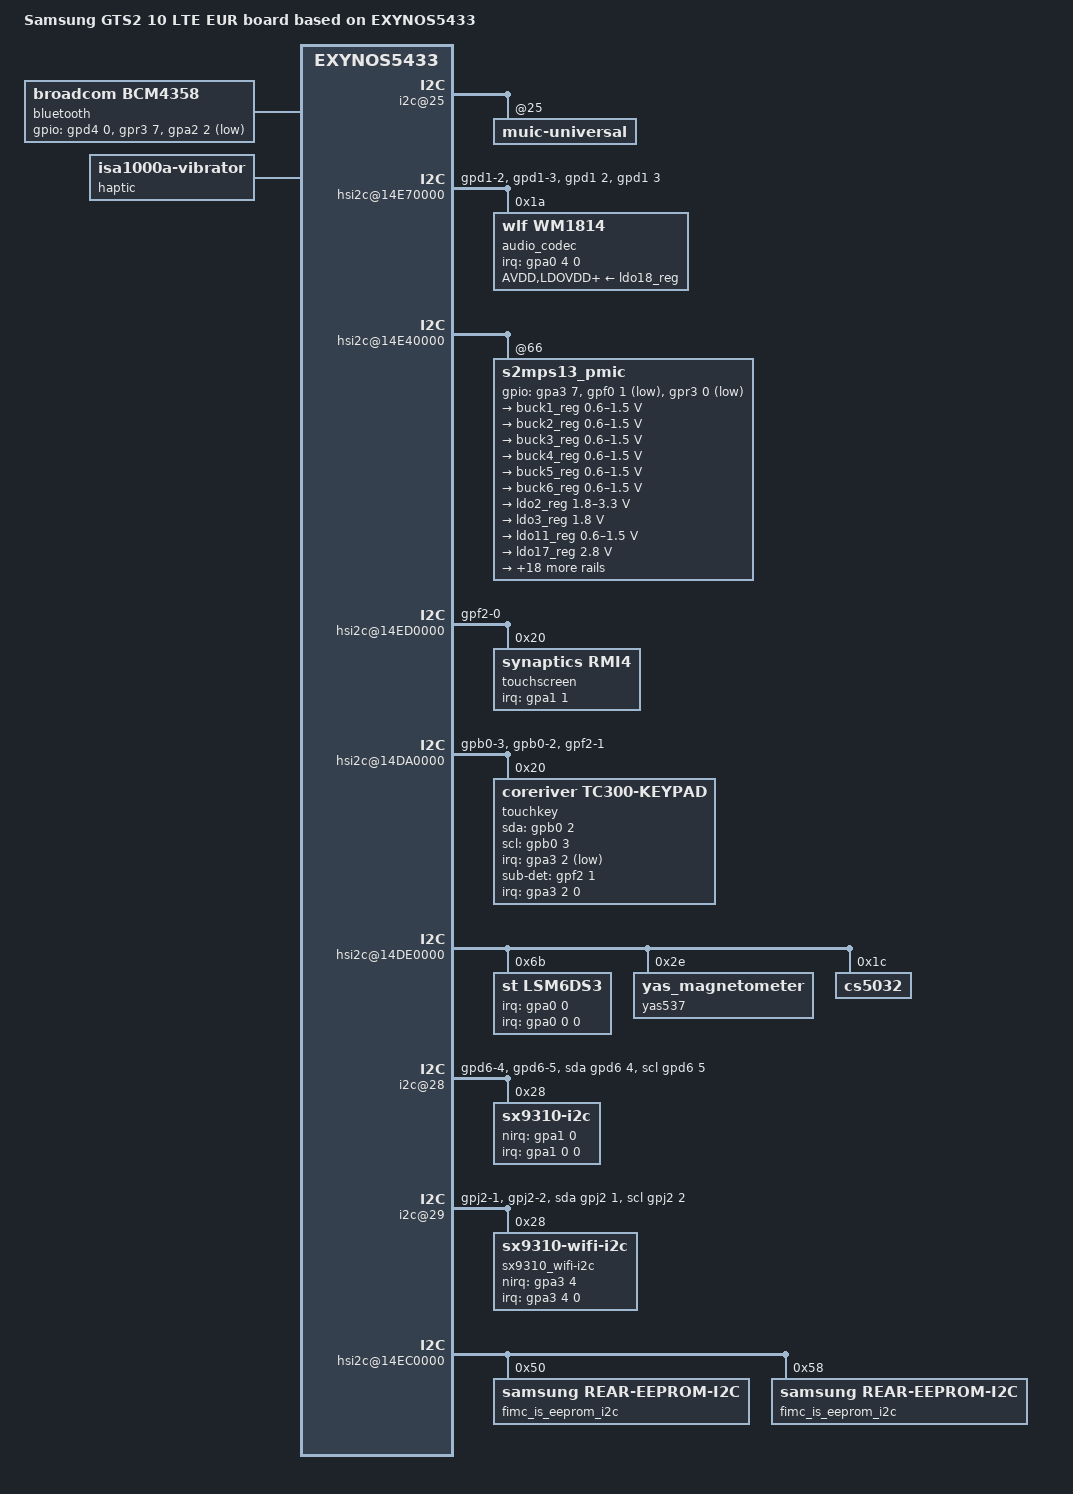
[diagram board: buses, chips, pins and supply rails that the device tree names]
/*
 * SAMSUNG UNIVERSAL5433 board device tree source
 *
 * Copyright (c) 2013 Samsung Electronics Co., Ltd.
 *		http://www.samsung.com
 *
 * This program is free software; you can redistribute it and/or modify
 * it under the terms of the GNU General Public License version 2 as
 * published by the Free Software Foundation.
*/
/dts-v1/;
#include "exynos5433-gts2_common.dtsi"
#include "exynos5433-gts210_gpio_03.dtsi"
#include "exynos5433-gts210_battery_03.dtsi"
#include "exynos5433-modem-ss333.dtsi"
#include "exynos5433-gts210_mhl2x.dtsi"
#include "exynos5433-gts210_fingerprint-sensor_00.dtsi"

/ {
	model = "Samsung GTS2 10 LTE EUR board based on EXYNOS5433";
	model_info-chip = <5433>;
	model_info-platform = "gts210";
	model_info-subtype = "gts210_eur_open";
	model_info-hw_rev = <5>;
	model_info-hw_rev_end = <5>;
	compatible = "samsung,GTS2 10 LTE 05", "samsung,exynos5433";

	dwmmc0@15540000 {
		samsung,dw-mshc-ddr200-tx-delay-line = <0x80>;
	};

	pinctrl@15690000 {
		sd0_clk: sd0-clk {
			samsung,pins = "gpr0-0";
			samsung,pin-function = <2>;
			samsung,pin-pud = <0>;
			samsung,pin-drv = <3>;
		};

		sd0_cmd: sd0-cmd {
			samsung,pins = "gpr0-1";
			samsung,pin-function = <2>;
			samsung,pin-pud = <0>;
			samsung,pin-drv = <3>;
		};

		sd0_bus1: sd0-bus-width1 {
			samsung,pins = "gpr1-0";
			samsung,pin-function = <2>;
			samsung,pin-pud = <0>;
			samsung,pin-drv = <3>;
		};

		sd0_bus4: sd0-bus-width4 {
			samsung,pins = "gpr1-1", "gpr1-2", "gpr1-3";
			samsung,pin-function = <2>;
			samsung,pin-pud = <0>;
			samsung,pin-drv = <3>;
		};

		sd0_bus8: sd0-bus-width8 {
			samsung,pins = "gpr1-4", "gpr1-5", "gpr1-6", "gpr1-7";
			samsung,pin-function = <2>;
			samsung,pin-pud = <0>;
			samsung,pin-drv = <3>;
		};
	};

	i2c@25 {
		status = "okay";
		muic-universal@25 {
			status = "okay";
			muic-universal,chip_name = "sm,sm5703";
		};
	};

	hsi2c@14E70000 {
		status = "okay";
		pinctrl-names = "default";
		pinctrl-0 = <&codec_i2c>;
		gpios = <&gpd1 2 0    /* sda */
				&gpd1 3 0   /* scl */ >;
		#address-cells = <1>;
		#size-cells = <0>;

		audio_codec: wm1814@1a {
			compatible = "wlf,wm1814";
			reg = <0x1a>;
			interrupts = <4 0 0>;
			interrupt-parent = <&gpa0>;

			gpio-controller;
			#gpio-cells = <2>;
			pinctrl-names = "default";
			pinctrl-0 = <&codec_reset &codec_ldoena &codec_irq>;
			wlf,reset = <&gpc0 7 0>;
			wlf,ldoena = <&gpf0 0 0>;
			wlf,init-mic-delay = <30>;
			wlf,micd-detect-debounce = <300>;
			wlf,micd-pol-gpio = <0>;
			wlf,micd-bias-start-time = <0x1>;
			wlf,micd-rate = <0x7>;
			wlf,micd-dbtime = <0x1>;
			wlf,micd-timeout = <1000>;
			wlf,micd-force-micbias;
			wlf,hpdet-channel = <0>;
			wlf,hpdet-ext-res = <11>;
			wlf,hs-mic = <3>;
			wlf,hpdet-short-circuit-imp = <3>;
			wlf,micd-ranges = <
				116 226
				173 582
				321 115
				752 114
				1257 217
			>;

			wlf,micd-configs = <
				0x0 1 0
			>;

			wlf,micbias1 = <2800 0 1 0 0>;
			wlf,micbias2 = <2800 0 1 0 0>;

			wlf,gpio-defaults = <
				0xA101
				0xA101
				0xA101
				0xA101
				0x8101
			>;

			wlf,gpsw = <0x3>;
			wlf,use-jd-gpio;
			wlf,jd-gpio-nopull;
			wlf,micd-software-compare;
			wlf,micd-open-circuit-declare = <1>;
			wlf,jd-wake-time = <5000>;

			wlf,max-channels-clocked = <2 0 0>;
			/* 0:MICVDD 1:MICBIAS1 2:MICBIAS2 3:MICBIAS3 */
			wlf,dmic-ref = <2 1 3 0>;
			/* 1st cell:IN1 2rd cell:IN2 3nd cell:IN3 4th cell:IN4 */
			wlf,inmode = <0 0 2 0>;
			/* 1st cell:OUT1 2nd cell:OUT2 3rd cell:OUT3... 6th cell:OUT6 */
			wlf,out-mono = <0 1 1 0 0 0>;

			AVDD-supply = <&ldo18_reg>;
			LDOVDD-supply = <&ldo18_reg>;
			DBVDD1-supply = <&ldo18_reg>;

			CPVDD-supply = <&ldo18_reg>;
			DBVDD2-supply = <&ldo18_reg>;
			DBVDD3-supply = <&ldo18_reg>;
			SPKVDDL-supply = <&ldo18_reg>;
			SPKVDDR-supply = <&ldo18_reg>;

		};
	};

	hall {
		status = "okay";
		compatible = "hall";
		pinctrl-names = "default";
		pinctrl-0 = <&hall_irq>;
		hall,gpio_flip_cover = <&gpa0 2 0>;
	};

	pinctrl@10580000 {
		hall_irq: hall-irq {
			samsung,pins = "gpa0-2";
			samsung,pin-function = <0xf>;
			samsung,pin-pud = <0>;
			samsung,pin-drv = <0>;
		};
	};

	hall_accessory {
		status = "okay";
		compatible = "hall_accessory";
		pinctrl-names = "default";
		pinctrl-0 = <&hall_accessory_irq>;
		hall,gpio_accessory = <&gpa0 1 0>;
	};

	pinctrl@10580000 {
		hall_accessory_irq: hall-accessory-irq {
			samsung,pins = "gpa0-1";
			samsung,pin-function = <0xf>;
			samsung,pin-pud = <0>;
			samsung,pin-drv = <0>;
		};
	};

	audio_pdata {
		compatible = "samsung,audio-pdata";

		imp_table = <
			/* min      max gain */
			   0         13    0
			  14         45    3
			  46        100    7
			 101        200    11
			 201        450    15
			 451       1000    17
			1001 0x7fffffff    0
		>;

		status = "okay";
	};

	pinctrl@11090000 {
		codec_ldoena: codec-ldoena {
			samsung,pins ="gpf0-0";
			samsung,pin-con-pdn =<3>;
		};
	};

	pinctrl@14CC0000 {
		codec_reset: codec-reset {
			samsung,pins ="gpc0-7";
			samsung,pin-function = <1>;
			samsung,pin-pud = <1>;
			samsung,pin-con-pdn =<3>;
			samsung,pin-pud-pdn = <1>;
		};

		codec_i2c: codec-i2c {
			samsung,pins = "gpd1-2", "gpd1-3";
			samsung,pin-function = <3>; //HSI2C_3_SDA( GPD1[2) , HSI2C_3_SCL( GPD1[3])
			samsung,pin-pud = <3>;      // 0 (pull_none) 1 (pull_down) 3 (pull_up)
		};
	};

	pinctrl@10580000 {
		codec_irq: codec-irq {
			samsung,pins = "gpa0-4";
			samsung,pin-pud = <0>;
		};
	};

	pinctrl@114B0000 {
		uart_aud_rts: uart-aud-rts {
			samsung,pins = "gpz1-3";
			samsung,pin-function = <2>;
			samsung,pin-pud = <0>;
			samsung,pin-con-pdn = <1>;
			samsung,pin-pud-pdn = <0>;
		};

		uart_aud_cts: uart-aud-cts {
			samsung,pins = "gpz1-2";
			samsung,pin-function = <2>;
			samsung,pin-pud = <0>;
			samsung,pin-con-pdn = <2>;
			samsung,pin-pud-pdn = <0>;
		};

		uart_aud_rx: uart-aud-rx {
			samsung,pins = "gpz1-1";
			samsung,pin-function = <2>;
			samsung,pin-pud = <0>;
			samsung,pin-con-pdn = <2>;
			samsung,pin-pud-pdn = <0>;
		};

		uart_aud_tx: uart-aud-tx {
			samsung,pins = "gpz1-0";
			samsung,pin-function = <2>;
			samsung,pin-pud = <0>;
			samsung,pin-con-pdn = <1>;
			samsung,pin-pud-pdn = <0>;
		};
	};

	serial@11460000 {
		pinctrl-0 = <&uart_aud_rts &uart_aud_cts &uart_aud_rx &uart_aud_tx>;
		pinctrl-1 = <&uart_aud_rx &uart_aud_tx &uart_aud_bus_idle>;
	};

	pinctrl@14CC0000 {
		cfg_en: cfg-en {
			samsung,pins ="gpd4-0";
			samsung,pin-function = <1>;
			samsung,pin-pud = <1>;
			samsung,pin-con-pdn = <3>;
			samsung,pin-pud-pdn = <1>;
		};
	};

	pinctrl@10580000{
		cfg_hostwake: cfg-hostwake {
			samsung,pins = "gpa2-2";
			samsung,pin-function = <0>;
			samsung,pin-pud = <0>;
			samsung,pin-con-pdn = <2>;
			samsung,pin-pud-pdn = <0>;
		};
	};

	pinctrl@15690000{
		cfg_btwake: cfg-btwake {
			samsung,pins = "gpr3-7";
			samsung,pin-function = <1>;
			samsung,pin-pud = <0>;
			samsung,pin-con-pdn = <0>;
			samsung,pin-pud-pdn = <1>;
		};
	};

	bluetooth {
		compatible = "broadcom,bcm4358";

		gpios = <&gpd4 0 0	/*BT_EN*/
				&gpr3 7 0	/*BT_WAKE*/
				&gpa2 2 0xF	/*BT_HOST_WAKE*/ >;

		pinctrl-names = "default";
		pinctrl-0=<&cfg_hostwake &cfg_btwake &cfg_en>;
		status = "okay";
	};

	pinctrl@15690000 {
		pm_dvs_en: pm-dvs-en {
			samsung,pins = "gpr3-0";
			samsung,pin-pud = <0>;
		};
	};

	pinctrl@11090000 {
		pm_g3d_en: pm-g3d-en {
			samsung,pins = "gpf0-1";
			samsung,pin-pud = <3>;
		};
	};

	hsi2c@14E40000 {
		s2mps13_pmic@66 {
			pinctrl-names = "default";
			pinctrl-0 = <&pm_g3d_en &pm_dvs_en &pmic_irq &pm_wrsti &gpa3_pull_up>;
			gpios = <&gpa3 7 0>, <&gpf0 1 0x1>, <&gpr3 0 0x1>;
			g3d_en = <1>; /* 1 : enable , 0 : disable */
			smpl_warn_vth = <0xd8>; /* LowBat_Level: 2.9V LowBat_Hys: 400mV */
			regulators {
				buck1_reg: BUCK1 {
					regulator-name = "vdd_mif";
					regulator-min-microvolt = <600000>;
					regulator-max-microvolt = <1500000>;
					regulator-always-on;
					regulator-boot-on;
					regulator-ramp-delay = <12000>;
					regulator-initial-mode = <1>;
				};

				buck2_reg: BUCK2 {
					regulator-name = "vdd_eagle";
					regulator-min-microvolt = <600000>;
					regulator-max-microvolt = <1500000>;
					regulator-always-on;
					regulator-boot-on;
					regulator-ramp-delay = <12000>;
					regulator-initial-mode = <1>;
				};

				buck3_reg: BUCK3 {
					regulator-name = "vdd_kfc";
					regulator-min-microvolt = <600000>;
					regulator-max-microvolt = <1500000>;
					regulator-always-on;
					regulator-boot-on;
					regulator-ramp-delay = <12000>;
					regulator-initial-mode = <1>;
				};

				buck4_reg: BUCK4 {
					regulator-name = "vdd_int";
					regulator-min-microvolt = <600000>;
					regulator-max-microvolt = <1500000>;
					regulator-always-on;
					regulator-boot-on;
					regulator-ramp-delay = <12000>;
					regulator-initial-mode = <1>;
				};

				buck5_reg: BUCK5 {
					regulator-name = "vdd_disp_cam0";
					regulator-min-microvolt = <600000>;
					regulator-max-microvolt = <1500000>;
					regulator-always-on;
					regulator-boot-on;
					regulator-ramp-delay = <12000>;
					regulator-initial-mode = <1>;
				};

				buck6_reg: BUCK6 {
					regulator-name = "vdd_g3d";
					regulator-min-microvolt = <600000>;
					regulator-max-microvolt = <1500000>;
					regulator-always-on;
					regulator-boot-on;
					regulator-ramp-delay = <12000>;
					regulator-initial-mode = <1>;
				};

				ldo2_reg: LDO2 {
					regulator-name = "vqmmc";
					regulator-min-microvolt = <1800000>;
					regulator-max-microvolt = <3300000>;
					regulator-boot-on;
					regulator-ramp-delay = <12000>;
					regulator-initial-mode = <1>;
				};

				ldo3_reg: LDO3 {
					regulator-name = "VDD1_E_1.8V_AP";
					regulator-min-microvolt = <1800000>;
					regulator-max-microvolt = <1800000>;
					regulator-always-on;
				};

				ldo11_reg: LDO11 {
					regulator-name = "vdd_int_m";
					regulator-min-microvolt = <600000>;
					regulator-max-microvolt = <1500000>;
					regulator-always-on;
					regulator-boot-on;
					regulator-ramp-delay = <12000>;
					regulator-initial-mode = <1>;
				};

				ldo17_reg: LDO17 {
					regulator-name = "vmmc";
					regulator-min-microvolt = <2800000>;
					regulator-max-microvolt = <2800000>;
				};

				ldo18_reg: LDO18 {
					regulator-name = "V_CODEC_1.8V_AP";
					regulator-min-microvolt = <1800000>;
					regulator-max-microvolt = <1800000>;
					regulator-always-on;
					regulator-initial-mode = <3>;
				};

				ldo19_reg: LDO19 {
					regulator-name = "GRIP_1.8V";
					regulator-min-microvolt = <1800000>;
					regulator-max-microvolt = <1800000>;
					regulator-always-on;
					regulator-boot-on;
				};

				ldo20_reg: LDO20 {
					regulator-name = "VCC_2.8V_AP";
					regulator-min-microvolt = <2800000>;
					regulator-max-microvolt = <2800000>;
					regulator-always-on;
					regulator-boot-on;
				};

				ldo21_reg: LDO21 {
					regulator-name = "VT_CAM_1.8V";
					regulator-min-microvolt = <1800000>;
					regulator-max-microvolt = <1800000>;
				};

				ldo22_reg: LDO22 {
					regulator-name = "CAM_IO_1.8V_AP";
					regulator-min-microvolt = <1800000>;
					regulator-max-microvolt = <1800000>;
				};

				ldo23_reg: LDO23 {
					regulator-name = "CAM_SEN_CORE_1.2V_AP";
					regulator-min-microvolt = <1300000>;
					regulator-max-microvolt = <1300000>;
				};

				ldo26_reg: LDO26 {
					regulator-name = "CAM_AF_2.8V_AP";
					regulator-min-microvolt = <2800000>;
					regulator-max-microvolt = <2800000>;
				};

				ldo27_reg: LDO27 {
					regulator-name = "VT_CAM_2.8V";
					regulator-min-microvolt = <2800000>;
					regulator-max-microvolt = <2800000>;
				};

				ldo29_reg: LDO29 {
					regulator-name = "CAM_SEN_A2.8V_AP";
					regulator-min-microvolt = <2800000>;
					regulator-max-microvolt = <2800000>;
				};

				ldo30_reg: LDO30 {
				        regulator-name = "tsp_avdd";
				        regulator-min-microvolt = <3300000>;
				        regulator-max-microvolt = <3300000>;
				};

				ldo31_reg: LDO31 {
				        regulator-name = "tsp_io";
				        regulator-min-microvolt = <1850000>;
				        regulator-max-microvolt = <1850000>;
				};

				ldo32_reg: LDO32 {
					regulator-name = "vtouch_1.8v";
					regulator-min-microvolt = <1800000>;
					regulator-max-microvolt = <1800000>;
					regulator-boot-on;
				};

				ldo33_reg: LDO33 {
					regulator-name = "vtouch_3.3v";
					regulator-min-microvolt = <3300000>;
					regulator-max-microvolt = <3300000>;
				};

				ldo34_reg: LDO34 {
					regulator-name = "VCC_1.8V_MHL";
					regulator-min-microvolt = <1800000>;
					regulator-max-microvolt = <1800000>;
				};

				ldo35_reg: LDO35 {
					regulator-name = "VCC_3.0V_MOTOR_AP";
					regulator-min-microvolt = <3000000>;
					regulator-max-microvolt = <3000000>;
				};

				ldo36_reg: LDO36 {
					regulator-name = "VSIL_1.2A";
					regulator-min-microvolt = <1200000>;
					regulator-max-microvolt = <1200000>;
				};

				ldo38_reg: LDO38 {
					regulator-name = "VCC_3.3V_MHL";
					regulator-min-microvolt = <3300000>;
					regulator-max-microvolt = <3300000>;
				};

				ldo40_reg: LDO40 {
					regulator-name = "V_IRLED_3.3V";
					regulator-min-microvolt = <3300000>;
					regulator-max-microvolt = <3350000>;
					regulator-initial-mode = <1>;
				};
			};
		};
	};

	pinctrl@14CC0000 {
		vibetonz_pwm: vibetonz-pwm {
		      samsung,pins = "gpd2-4";
		      samsung,pin-function = <2>;
		      samsung,pin-pud = <0>;
		      samsung,pin-drv = <0>;
	      };
	};

	pinctrl@10580000 {
		attn_irq: attn-irq {
			samsung,pins = "gpa1-1";
			samsung,pin-function = <0xf>;
			samsung,pin-pud = <0>;
			samsung,pin-drv = <0>;
		};

		attn_input: attn-input {
			samsung,pins = "gpa1-1";
			samsung,pin-function = <0>;
			samsung,pin-pud = <1>;
			samsung,pin-drv = <0>;
		};

		tsp_rst_default: tsp-rst-default {
			samsung,pins = "gpf2-0";
			samsung,pin-function = <0>;
			samsung,pin-pud = <0>;
			samsung,pin-drv = <0>;
		};
	};

	hsi2c@14ED0000 {
		pinctrl-names = "default";
		pinctrl-0 = <&hs_i2c5_bus &tsp_rst_default>;
		samsung,i2c-sda-delay = <100>;
		samsung,i2c-max-bus-freq = <400000>;
		status = "okay";
		touchscreen@20 {
			compatible = "synaptics,rmi4";
			reg = <0x20>;
			pinctrl-names = "on_state", "off_state";
			pinctrl-0 = <&attn_irq>;
			pinctrl-1 = <&attn_input>;
			synaptics,irq_gpio = <&gpa1 1 0>;
			synaptics,irq_type = <8200>;
			synaptics,max_coords = <1536 2048>;	/* x y */
			synaptics,num_lines = <49 37>;		/* rx tx */
			synaptics,regulator_dvdd = "tsp_io";
			synaptics,regulator_avdd = "tsp_avdd";
			synaptics,project_name = "GTS210","T815";
			synaptics,firmware_name = "tsp_synaptics/synaptics_5807_gts210.fw";
		};
	};

	pinctrl@14CC0000 {
		/* touchkey i2c*/
		hs_i2c9_bus: hs-i2c9-bus {
			samsung,pins = "gpb0-3", "gpb0-2";
			samsung,pin-function = <4>;
			samsung,pin-pud = <3>;
			samsung,pin-drv = <0>;
		};
		cfg_i2c: cfg-i2c {
			samsung,pins = "gpb0-3", "gpb0-2";
			samsung,pin-function = <4>;
			samsung,pin-pud = <3>;
			samsung,pin-drv = <0>;
		};
		cfg_gpio: cfg_gpio {
			samsung,pins = "gpb0-3", "gpb0-2";
			samsung,pin-function = <2>;
			samsung,pin-pud = <0>;
			samsung,pin-drv = <0>;
		};
	};

	pinctrl@10580000 {
		sub_det: sub-det {
			samsung,pins = "gpf2-1";
			samsung,pin-function = <0>;
			samsung,pin-pud = <0>;
			samsung,pin-drv = <0>;
		};
	};

	hsi2c@14DA0000 {
		status = "okay";
		pinctrl-names = "default","on_i2c","off_i2c";
		pinctrl-0 = <&hs_i2c9_bus &sub_det>;
		pinctrl-1 = <&cfg_i2c>;
		pinctrl-2 = <&cfg_gpio>;
		touchkey@20 {
			pinctrl-names = "default";
			pinctrl-0 = <&cfg_irq>;
			compatible = "coreriver,tc300-keypad";
			reg = <0x20>;
			interrupts = <2 0 0>;
			interrupt-parent = <&gpa3>;
			coreriver,sda-gpio = <&gpb0 2 0>;
			coreriver,scl-gpio = <&gpb0 3 0>;
			coreriver,irq-gpio = <&gpa3 2 1>;
			coreriver,sub-det-gpio = <&gpf2 1 0>;
			coreriver,regulator_ic = "vtouch_1.8v";
			coreriver,regulator_led = "vtouch_3.3v";
			coreriver,fw_name = "coreriver/tc350k_gts210_swap.fw";
			coreriver,sensing_ch_num = <0x4>;
			coreriver,tsk_ic_num = <0x1>; /* tc300k : 0x00, tc350k : 0x01 */
			coreriver,use_bitmap = <1>;
			coreriver,boot-on-ldo = "true";
		};
	};

	hsi2c@14DE0000 {
		samsung,i2c-sda-delay = <100>;
		samsung,i2c-max-bus-freq = <400000>;
		status = "okay";
		lsm6ds3@6b {
			compatible = "st,lsm6ds3";
			reg = <0x6b>;
			pinctrl-names = "default";
			interrupt-parent = <&gpa0>;
			interrupts = <0 0 0>;

			st,drdy-int-pin = <1>;
			st,irq_gpio = <&gpa0 0 0x00>;
			st,orientation = <1 0 1 0 1 1 1 1 0>;
		};
		yas537@2e {
			compatible = "yas_magnetometer";
			reg = <0x2e>;
			yas,orientation = <2>;
		};
		cs5032@1c {
			compatible = "cs5032";
			reg = <0x1c>;
		};
	};

	pinctrl@14CC0000{
		grip_reg: grip-reg {
			samsung,pins = "gpd6-4", "gpd6-5";
			samsung,pin-function = <0x0>;
			samsung,pin-pud = <0>;
			samsung,pin-drv = <0>;
		};
	};

	pinctrl@10580000{
		grip_det: grip-det {
			samsung,pins = "gpa1-0";
			samsung,pin-function = <0x0>;
			samsung,pin-pud = <0>;
			samsung,pin-drv = <0>;
		};
	};

	i2c@28 {
		compatible = "i2c-gpio";
		gpios = <&gpd6 4 0    /* sda */
				  &gpd6 5 0   /* scl */
			>;
		pinctrl-names = "default";
		pinctrl-0 = <&grip_reg>;
		i2c-gpio,delay-us = <2>;
		#address-cells = <1>;
		#size-cells = <0>;

		sx9310-i2c@28 {
			compatible = "sx9310-i2c";
			reg = <0x28>;
			pinctrl-names = "default";
			pinctrl-0 = <&grip_det>;
			interrupts = <0 0 0>;
			interrupt-parent = <&gpa1>;
			sx9310-i2c,nirq-gpio = <&gpa1 0 0x00>;
		};
	};

	pinctrl@14CA0000{
		wifi_grip_reg: wifi-grip-reg {
			samsung,pins = "gpj2-1", "gpj2-2";
			samsung,pin-function = <0x0>;
			samsung,pin-pud = <0>;
			samsung,pin-drv = <0>;
		};
	};

	pinctrl@10580000{
		wifi_touch: wifi-touch {
			samsung,pins = "gpa3-4";
			samsung,pin-function = <0x0>;
			samsung,pin-pud = <0>;
			samsung,pin-drv = <0>;
		};
	};

	i2c@29 {
		compatible = "i2c-gpio";
		gpios = <&gpj2 1 0    /* sda */
				  &gpj2 2 0   /* scl */
			>;
		pinctrl-names = "default";
		pinctrl-0 = <&wifi_grip_reg>;
		i2c-gpio,delay-us = <2>;
		#address-cells = <1>;
		#size-cells = <0>;

		sx9310_wifi-i2c@28 {
			compatible = "sx9310-wifi-i2c";
			reg = <0x28>;
			pinctrl-names = "default";
			pinctrl-0 = <&wifi_touch>;
			interrupts = <4 0 0>;
			interrupt-parent = <&gpa3>;
			sx9310_wifi-i2c,nirq-gpio = <&gpa3 4 0x00>;
		};
	};

	haptic {
		status = "okay";
		compatible = "isa1000a-vibrator";
		pinctrl-names = "default";
		pinctrl-0 = <&motor_en &vibetonz_pwm>;
		haptic,max_timeout = <10000>;
		haptic,duty = <32880>;
		haptic,period = <33250>;
		haptic,reg2 = <0x82>;
		haptic,pwm_id = <0>;
		haptic,en = <&gpc0 1 0>;
		haptic,regulator_name = "VCC_3.0V_MOTOR_AP";
	};

	pinctrl@14CC0000 {
		motor_en: motor_en {
			samsung,pins = "gpc0-1";
			samsung,pin-function = <2>;
			samsung,pin-pud = <0>;
			samsung,pin-drv = <0>;
		};
	};

	hsi2c@14EC0000 {
		status = "okay";
		fimc_is_eeprom_i2c@50 {
			compatible = "samsung,rear-eeprom-i2c";
			reg = <0x50>;
			use_i2c_pinctrl;
			fimc_is_rear_eeprom_pinname = "14cd0000.pinctrl";
			fimc_is_rear_eeprom_sda = "gpj0-0";
			fimc_is_rear_eeprom_scl = "gpj0-1";
			pinfunc_on = <4>;
			pinfunc_off = <0>;
			actuator_id = <8>;
		};
		fimc_is_eeprom_i2c@58 {
			compatible = "samsung,rear-eeprom-i2c";
			reg = <0x58>;
			use_i2c_pinctrl;
			fimc_is_rear_eeprom_pinname = "14cd0000.pinctrl";
			fimc_is_rear_eeprom_sda = "gpj0-0";
			fimc_is_rear_eeprom_scl = "gpj0-1";
			pinfunc_on = <4>;
			pinfunc_off = <0>;
			use_module_i2c_check;
			actuator_id = <13>;
		};
	};

	fimc_is_sensor0: fimc_is_sensor@12100000 {
		actuator_id = <8>;
	};
};
